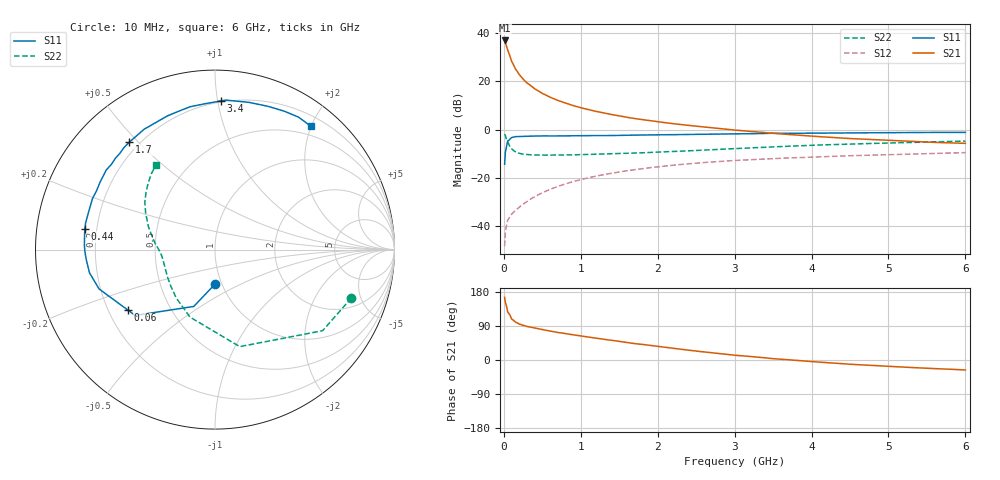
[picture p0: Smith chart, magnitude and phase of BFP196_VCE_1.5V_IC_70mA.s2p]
! Infineon Technologies  Discrete & RF Semiconductors
! BFP196
! VCE = 1.5 V,  IC =  70mA
! Common Emitter S-Parameters:  Jan 2016
# GHz  S  MA  R  50
!  f  S11  S21  S12  S22
! GHz  MAG  ANG  MAG  ANG  MAG  ANG  MAG  ANG
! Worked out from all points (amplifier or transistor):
!   210 points, 10 MHz to 6 GHz, reference 50 ohm
!   highest |S21| = 37.0 dB at 10 MHz (marker M1)
!   |S21| within 3 dB of that: start of sweep to 40.11 MHz
!   unconditionally stable (mu >= 1): 331.8 MHz to 5.35 GHz; 5.662 GHz to end of sweep
!   at 185 MHz: K = 0.84, MSG = 28.1 dB, |S12| = -32.7 dB
!   at 1.52 GHz: K = 1.10, MAG = 9.6 dB, |S12| = -17.5 dB
!   at 6 GHz: K = 1.01, MAG = 1.5 dB, |S12| = -9.6 dB
!   S11 on the Smith chart (normalised r, x): 10 MHz: 0.93, -0.37; 60 MHz: 0.28, -0.29; 440 MHz: 0.15, +0.08; 1.7 GHz: 0.16, +0.47; 3.4 GHz: 0.19, +1.02; 6 GHz: 0.35, +1.99
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0.01  0.1909 -89.5  70.44 165.5  0.0038 77.1  0.8065 -19.5
0.02  0.3381 -110.5  64.13 151.9  0.0075 65.1  0.7508 -37.0
0.05  0.5767 -140.5  44.64 126.6  0.0131 52.6  0.5579 -75.7
0.06  0.5909 -145.2  40.73 124.3  0.014 52.2  0.5144 -80.8
0.1  0.6817 -161.2  26.25 108.4  0.0174 50.8  0.4012 -110.3
0.15  0.7111 -169.5  18.19 100.0  0.0208 52.5  0.346 -128.4
0.2  0.719 -175.3  13.84 94.8  0.0244 56.2  0.3211 -139.5
0.26  0.7254 -179.6  10.71 90.7  0.0289 59.2  0.3076 -148.3
0.3  0.7281 178.2  9.283 88.6  0.0321 61.0  0.3029 -152.2
0.4  0.7324 172.6  7.015 84.1  0.0403 63.7  0.2962 -159.4
0.44  0.7334 171.0  6.453 82.8  0.0437 64.3  0.2953 -161.2
0.52  0.7355 167.8  5.428 79.6  0.0504 65.1  0.2945 -164.6
0.7  0.7357 160.7  4.024 72.7  0.0657 64.9  0.2956 -169.5
1.02  0.7422 149.7  2.78 62.9  0.093 62.4  0.3017 -175.1
1.3  0.7476 140.6  2.195 54.6  0.1162 58.3  0.31 -178.8
1.7  0.7657 128.5  1.687 43.3  0.1469 52.7  0.3248 176.3
2.02  0.7781 120.0  1.434 35.5  0.1697 47.6  0.3409 172.6
3.1  0.815 93.7  0.945 11.0  0.232 31.1  0.4074 157.6
3.4  0.8287 87.8  0.859 5.6  0.2451 26.7  0.4291 153.5
4.1  0.8424 75.6  0.712 -5.6  0.2714 18.0  0.4773 144.7
5.1  0.8636 62.4  0.586 -17.8  0.3045 6.7  0.53 134.1
6  0.8706 52.2  0.516 -26.3  0.3316 -3.3  0.575 125.0
